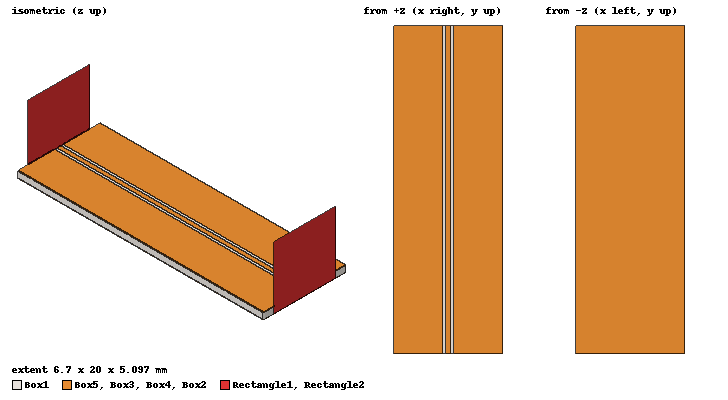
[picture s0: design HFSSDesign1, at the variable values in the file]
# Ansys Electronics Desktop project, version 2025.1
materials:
  vacuum: permittivity=1
  Rogers RT/duroid 5880 (tm): permittivity=2.2 dielectric_loss_tangent=0.0009
  copper: permeability=0.999991 conductivity=58000000

design HFSSDesign1 (HFSS, HFSS Terminal Network, model units mm)
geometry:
  Box1 [Rogers RT/duroid 5880 (tm)] = box(corner=((-6.7/2) mm, 0mm, 0mm), size=(6.7mm, 20mm, 0.508mm))
  Box2 [copper] = box(corner=(-0.15mm, 0mm, 0.508mm), size=(0.3mm, 20mm, 0.017mm))
  Box3 [copper] = box(corner=(0.35mm, 0mm, 0.508mm), size=(3mm, 20mm, 0.017mm))
  Box4 [copper] = box(corner=(-0.35mm, 0mm, 0.508mm), size=(-3mm, 20mm, 0.017mm))
  Box5 [copper] = box(corner=((-6.7/2) mm, 0mm, 0mm), size=(6.7mm, 20mm, -0.017mm))
  Rectangle1 = rectangle(corner=(-2.5mm, 0mm, 0mm), z_size=5.08mm, x_size=5mm)
  Rectangle2 = rectangle(corner=(-2.5mm, 20mm, 0mm), z_size=5.08mm, x_size=5mm)
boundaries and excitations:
  1: Wave Port Objects=Rectangle1 WavePortType=Modal NumModes=1 Modes{Mode1{CharImp=Zpi}}
  2: Wave Port Objects=Rectangle2 WavePortType=Modal NumModes=1 Modes{Mode1{CharImp=Zpi}}
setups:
  Setup1: HfssDriven MultipleAdaptiveFreqsSetup{Low=0GHz High=20GHz} MaxDeltaS=0.02 MaximumPasses=6 MinimumPasses=1 MinimumConvergedPasses=1 PercentRefinement=30 BasisOrder=1 PortAccuracy=2 DrivenSolverType="Direct Solver"
    sweep Sweep: 0GHz to 20GHz, 401 points; Type=Interpolating InterpTolerance=0.5 InterpMaxSolns=250 MinSolvedFreq=0.01GHz PassivityErrorTolerance=0.0001
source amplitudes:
  1:1: 1V 0deg
  2:1: 0V 0deg
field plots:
  Vector_E1: E Field over Box4.face(all 6) Box2.face(all 6) Box3.face(all 6) on Setup1 : LastAdaptive at Freq=10.5GHz Phase=0deg
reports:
  Port Zo Plot1: re(Zo(1)), re(Zo(2)) vs Freq on Setup1 : Sweep
  S Parameter Plot1: dB(S(1,1)), dB(S(2,1)), dB(S(1,2)), dB(S(2,2)) vs Freq on Setup1 : Sweep
